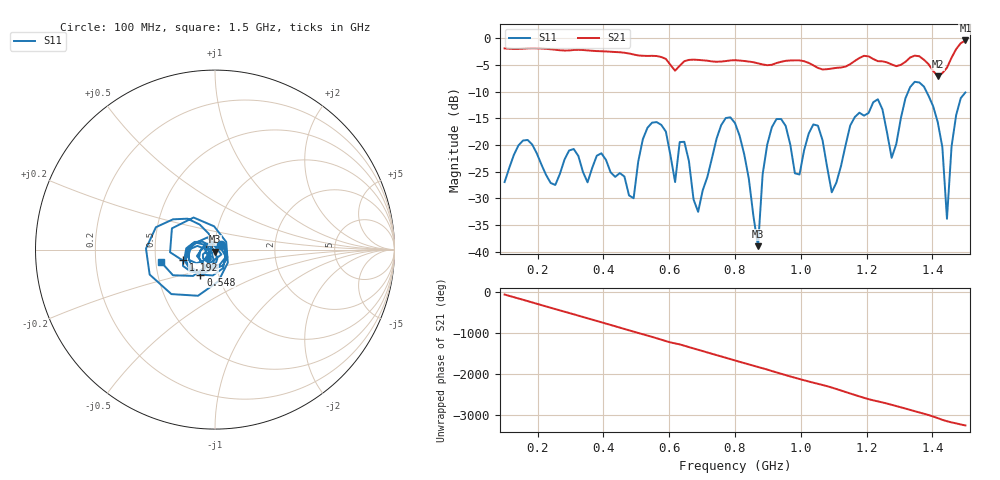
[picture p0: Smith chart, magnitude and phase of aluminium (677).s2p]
! NanoVNA-App
! Date: 2025-09-25 15:00:33
! Start: 100MHz Stop: 1,5GHz Points: 101
! S-Parameter data: F S11 S21 S12 S22
# Hz S RI R 50
!  Frequency  S11_Real  S11_Imag  S21_Real  S21_Imag  S12_Real  S12_Imag  S22_Real  S22_Imag
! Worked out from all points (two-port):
!   101 points, 100 MHz to 1.5 GHz, reference 50 ohm
!   highest |S21| = -0.43 dB at 1.5 GHz (marker M1); lowest = -7.2 dB at 1.416 GHz (marker M2)
!   |S21| within 3 dB of the highest: start of sweep to 568.4 MHz; 1.46 GHz to end of sweep (the widest 2 of 4)
!   lowest |S11| = -39.0 dB at 870 MHz (marker M3), VSWR 1.02, Z = 50.1 - j1.12 ohm
!   |S11| at or under -10 dB: start of sweep to 1.326 GHz; 1.382 GHz to end of sweep
!   S12 and S22 are empty: the file has one direction only
!   S11 on the Smith chart (normalised r, x): 100 MHz: 1.07, +0.06; 548 MHz: 0.82, -0.23; 1.192 GHz: 0.69, -0.09; 1.5 GHz: 0.53, -0.08
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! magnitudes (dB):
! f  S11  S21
! 100 MHz  -27.0  -1.9
! 156 MHz  -19.2  -2.0
! 338 MHz  -25.1  -2.2
! 492 MHz  -30.0  -3.1
! 548 MHz  -15.8  -3.3
! 576 MHz  -16.3  -3.5
! 646 MHz  -19.4  -4.3
! 688 MHz  -32.5  -4.1
! 800 MHz  -15.9  -4.1
! 870 MHz  -39.0  -4.7
! 912 MHz  -16.7  -5.0
! 996 MHz  -25.6  -4.2
! 1.038 GHz  -16.2  -5.1
! 1.094 GHz  -28.9  -5.7
! 1.192 GHz  -14.5  -3.3
! 1.234 GHz  -11.4  -4.3
! 1.276 GHz  -22.4  -4.9
! 1.346 GHz  -8.2  -3.3
! 1.416 GHz  -15.7  -7.2
! 1.444 GHz  -33.8  -5.5
! 1.458 GHz  -20.3  -3.7
! 1.5 GHz  -10.2  -0.4
